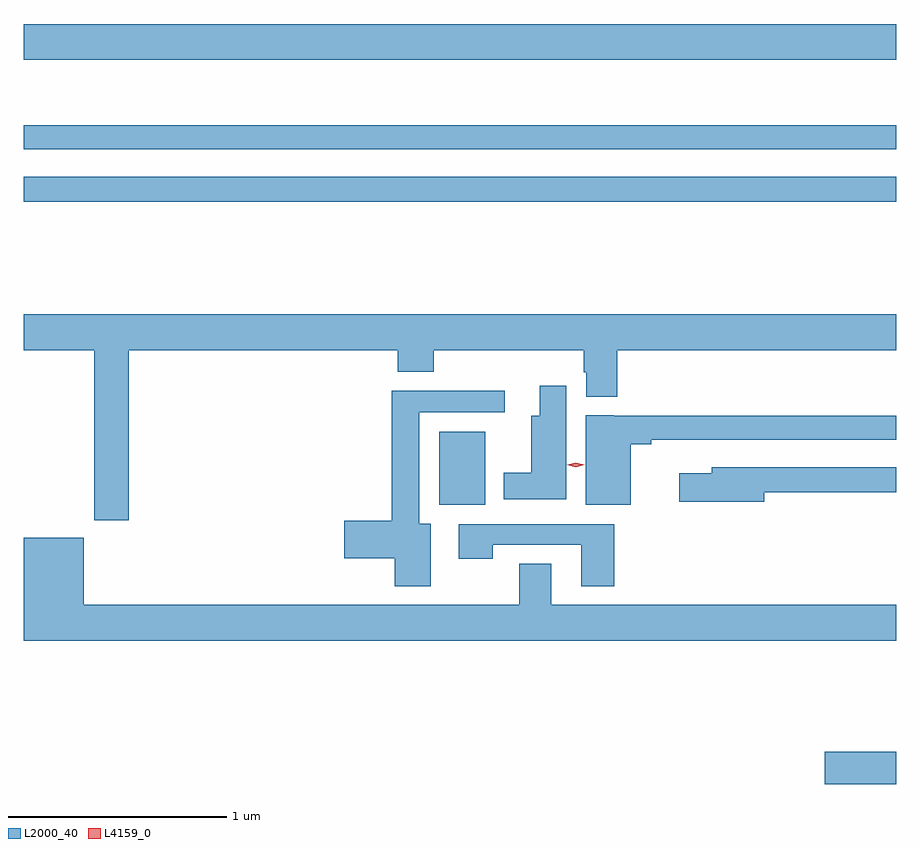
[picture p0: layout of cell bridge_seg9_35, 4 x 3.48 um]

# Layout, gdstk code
import gdstk
lib = gdstk.Library(unit=1e-6, precision=1e-09)
def R(c, l, rs):  # rectangles x0, y0, x1, y1
    for r in rs: c.add(gdstk.rectangle(r[:2], r[2:], *l))
def P(c, l, *ps):  # polygons
    for p in ps: c.add(gdstk.Polygon(p, *l))
L2000_40 = (2000, 40)
L4159_0 = (4159, 0)

bridge_seg9_35 = lib.new_cell('bridge_seg9_35')
R(bridge_seg9_35, L2000_40, [(985.626,1221.071,985.954,1221.218), (983.858,1222.352,984.07,1222.687), (981.954,1223.74,985.954,1223.856), (981.954,1223.982,985.954,1224.091), (981.954,1224.392,985.954,1224.556)])
P(bridge_seg9_35, L2000_40, [(982.436,1223.06),(983.669,1223.06),(983.669,1222.961),(983.834,1222.961),(983.834,1223.06),(984.521,1223.06),(984.521,1222.959),(984.533,1222.959),(984.533,1222.847),(984.674,1222.847),(984.674,1223.06),(985.954,1223.06),(985.954,1223.224),(981.954,1223.224),(981.954,1223.06),(982.276,1223.06),(982.276,1222.281),(982.436,1222.281)],
  [(984.442,1222.897),(984.32,1222.897),(984.32,1222.759),(984.281,1222.759),(984.281,1222.498),(984.155,1222.498),(984.155,1222.376),(984.442,1222.376)],
  [(983.821,1222.264),(983.767,1222.264),(983.767,1222.776),(984.16,1222.776),(984.16,1222.874),(983.642,1222.874),(983.642,1222.277),(983.424,1222.277),(983.424,1222.106),(983.654,1222.106),(983.654,1221.978),(983.821,1221.978)],
  [(984.736,1222.63),(984.832,1222.63),(984.832,1222.65),(985.954,1222.65),(985.954,1222.759),(984.66,1222.759),(984.66,1222.762),(984.53,1222.762),(984.53,1222.352),(984.736,1222.352)],
  [(985.348,1222.408),(985.954,1222.408),(985.954,1222.524),(985.109,1222.524),(985.109,1222.495),(984.96,1222.495),(984.96,1222.366),(985.348,1222.366)],
  [(984.662,1222.263),(983.949,1222.263),(983.949,1222.104),(984.105,1222.104),(984.105,1222.167),(984.509,1222.167),(984.509,1221.978),(984.662,1221.978)],
  [(985.954,1221.892),(984.373,1221.892),(984.373,1222.082),(984.226,1222.082),(984.226,1221.892),(982.228,1221.892),(982.228,1222.201),(981.954,1222.201),(981.954,1221.728),(985.954,1221.728)])
P(bridge_seg9_35, L4159_0, [(984.485,1222.524),(984.446,1222.534),(984.446,1222.534),(984.446,1222.534),(984.485,1222.544),(984.524,1222.534),(984.524,1222.534),(984.524,1222.534)])

lib.write_gds('bridge_seg9_35.gds')
